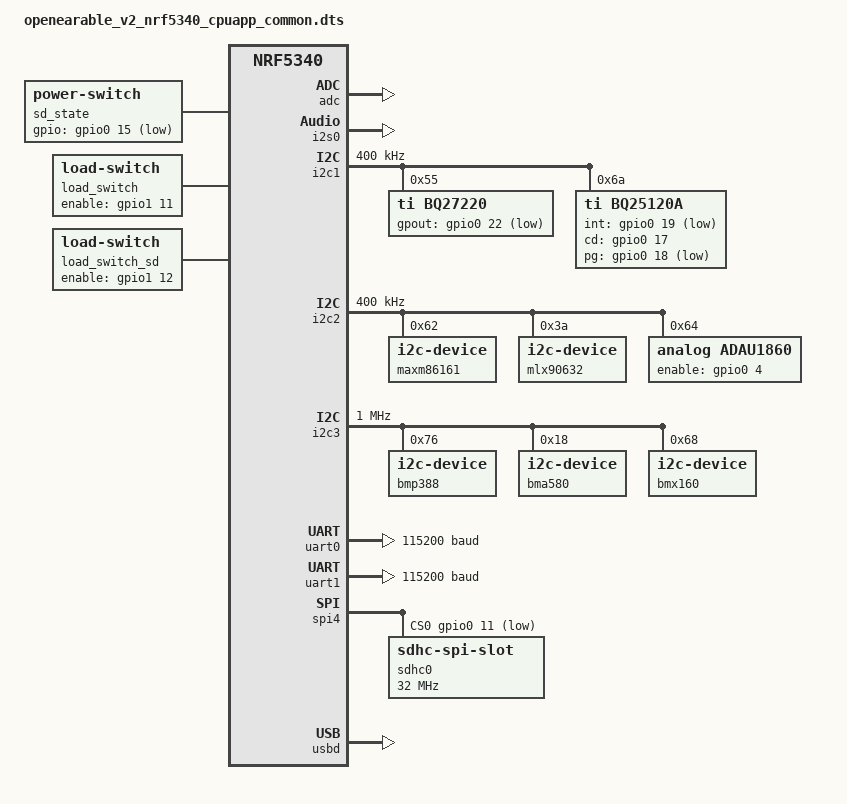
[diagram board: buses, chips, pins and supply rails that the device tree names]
/*
 * Copyright (c) 2023 Raytac Corporation
 *
 * SPDX-License-Identifier: Apache-2.0
 */
/*
 * Haven copy of the OpenEarable 2.0 board definition (OpenEarable/open-earable-2,
 * boards/teco/openearable_v2). Haven's board is a port of this exact PCB, so
 * the pin map is the same. Local changes are marked "Haven:" -- the codec node
 * moved to &i2c2 (see comment there), I2S MCK dropped from the pinctrl (the
 * codec has no MCLK input; upstream's MCK pin P1.14 doubles as its
 * alternative PDM clock pin), and the UART GPIO forwarder removed (no
 * net-core UART here).
 */
 #include "openearable_v2_nrf5340_cpuapp_common-pinctrl.dtsi"
 #include <zephyr/dt-bindings/input/input-event-codes.h>
 
 / {
	 chosen {
		 zephyr,console = &uart0;
		 zephyr,shell-uart = &uart0;
		 zephyr,uart-mcumgr = &cdc_acm_uart0;
		 zephyr,bt-mon-uart = &uart0;
		 zephyr,bt-c2h-uart = &uart0;
		 zephyr,bt-hci = &bt_hci_ipc0;
		 watchdog0 = &wdt0;
	 };
 
 
	 sd_state: sd_state {
		 compatible = "power-switch";
		 gpios = <&gpio0 15 (GPIO_PULL_UP | GPIO_ACTIVE_LOW)>;
	 };
 
	 load_switch: load_switch {
		 compatible = "load-switch";
		 enable-gpios = <&gpio1 11 GPIO_ACTIVE_HIGH>;
		 power-delay-us = <300>; // 250us per datasheet
		 status = "okay";
		 default-on;
	 };
 
	 load_switch_sd: load_switch_sd {
		 compatible = "load-switch";
		 enable-gpios = <&gpio1 12 GPIO_ACTIVE_HIGH>;
		 power-delay-us = <300>; // 250us per datasheet
		 status = "okay";
	 };
 
 };
 
 &clock {
	 hfclkaudio-frequency = <12288000>;
 };

 // Oscillator Parameters 32mHz / 8pF / 20ppm
 &hfxo {
	load-capacitors = "internal";
	load-capacitance-femtofarad = <8000>;
 };

 &lfxo {
	load-capacitors = "external";
  };
 
 &adc {
	 status = "okay";
 };
 
 &gpiote {
	 status = "okay";
 };
 
 &gpio0 {
	 status = "okay";
 };
 
 &gpio1 {
	 status = "okay";
 };
 
 &i2s0 {
	 compatible = "nordic,nrf-i2s";
	 status = "okay";
	 pinctrl-0 = <&i2s0_default>;
	 pinctrl-1 = <&i2s0_sleep>;
	 pinctrl-names = "default", "sleep";
 };
 
 dmic_dev: &pdm0 {
	 compatible = "nordic,nrf-pdm";
	 status = "disabled";
	 pinctrl-0 = <&pdm0_default_alt>;
	 pinctrl-names = "default";
	 clock-source = "ACLK";
 };
 
 &i2c1 {
	 compatible = "nordic,nrf-twim";
	 status = "okay";
	 pinctrl-0 = <&i2c1_default>;
	 pinctrl-1 = <&i2c1_sleep>;
	 pinctrl-names = "default", "sleep";
	 clock-frequency = <I2C_BITRATE_FAST>;  // 400 kHz
	 zephyr,concat-buf-size = <512>;
     zephyr,flash-buf-max-size = <512>;
 
	 bq27220: bq27220@55 {
		 compatible = "ti,bq27220";
		 reg = <0x55>;
		 gpout-gpios = <&gpio0 22 (GPIO_PULL_UP | GPIO_ACTIVE_LOW)>;
	 };
 
	 bq25120a: bq25120a@6a {
		 compatible = "ti,bq25120a";
		 reg = <0x6a>;
		 int-gpios = <&gpio0 19 (GPIO_ACTIVE_LOW | GPIO_PULL_UP)>;
		 cd-gpios = <&gpio0 17 GPIO_ACTIVE_HIGH>;
		 pg-gpios = <&gpio0 18 (GPIO_ACTIVE_LOW | GPIO_PULL_UP)>;

		load-switch {
			compatible = "load-switch";
			enable-gpios = <&gpio0 14 GPIO_ACTIVE_HIGH>;
			power-delay-us = <600>; // 250us per datasheet
			status = "okay";
        };
	 };
 
 };
 
 &i2c2 {
	 compatible = "nordic,nrf-twim";
	 status = "okay";
	 pinctrl-0 = <&i2c2_default>;
	 pinctrl-1 = <&i2c2_sleep>;
	 pinctrl-names = "default", "sleep";
	 clock-frequency = <I2C_BITRATE_FAST>;  // 400 kHz
	 zephyr,concat-buf-size = <512>;
     zephyr,flash-buf-max-size = <512>;

	maxm86161: maxm86161@62 {
        compatible = "i2c-device";
        reg = <0x62>;
    };

	mlx90632: mlx90632@3A {
        compatible = "i2c-device";
        reg = <0x3A>;
    };

	/* ADAU1860 codec/DSP. Upstream OpenEarable declares this node under
	 * &i2c1 but talks to it through its `I2C2` TWIM wrapper (src/Wire/TWIM.cpp:
	 * `TWIM I2C2(DEVICE_DT_GET(DT_NODELABEL(i2c2)))`, `ADAU1860 dac(&I2C2)`),
	 * i.e. the bus on P1.00 (SCL) / P1.15 (SDA) -- which is also where the
	 * Haven board netlist puts the codec's SCL1/SDA1 pins (MDBT53 pins 45/47).
	 * Haven's driver uses the node's parent bus for real, so the node lives
	 * on the bus the wires go to.
	 */
	adau1860: adau1860@64 {
		compatible = "analog,adau1860";
		reg = <0x64>;
		enable-gpios = <&gpio0 4 GPIO_ACTIVE_HIGH>;  /* net DAC_ENABLE -> codec pin E4 */
	};
 };
 
 &i2c3 {
	 compatible = "nordic,nrf-twim";
	 status = "okay";
	 pinctrl-0 = <&i2c3_default>;
	 pinctrl-1 = <&i2c3_sleep>;
	 pinctrl-names = "default", "sleep";
	 clock-frequency = <I2C_BITRATE_FAST_PLUS>;  // 1000 kHz
	 zephyr,concat-buf-size = <512>;
     zephyr,flash-buf-max-size = <512>;

	bmp388: bmp388@76 {
        compatible = "i2c-device";
        reg = <0x76>;
    };

	bma580: bma580@18 {
        compatible = "i2c-device";
        reg = <0x18>;
    };

	bmx160: bmx160@68 {
        compatible = "i2c-device";
        reg = <0x68>;
    };
 };
 
 &uart0 {
	 status = "okay";
	 current-speed = <115200>;
	 pinctrl-0 = <&uart0_default>;
	 pinctrl-1 = <&uart0_sleep>;
	 pinctrl-names = "default", "sleep";
 };
 
 &uart1 {
	 compatible = "nordic,nrf-uarte";
	 current-speed = <115200>;
	 pinctrl-0 = <&uart1_default>;
	 pinctrl-1 = <&uart1_sleep>;
	 pinctrl-names = "default", "sleep";
 };
 
 &pwm0 {
	 status = "disabled"; // okay
	 pinctrl-0 = <&pwm0_default>;
	 pinctrl-1 = <&pwm0_sleep>;
	 pinctrl-names = "default", "sleep";
 };
 
 &qspi {
	 status = "disabled";
	 pinctrl-0 = <&qspi_default>;
	 pinctrl-1 = <&qspi_sleep>;
	 pinctrl-names = "default", "sleep";
 };
 
 &spi2 {
	 compatible = "nordic,nrf-spim";
	 status = "disabled";
	 cs-gpios = <&gpio0 25 GPIO_ACTIVE_LOW>;
 
	 pinctrl-0 = <&spi2_default>;
	 pinctrl-1 = <&spi2_sleep>;
	 pinctrl-names = "default", "sleep";
 };
 
 &spi3 {
	 compatible = "nordic,nrf-spim";
	 status = "disabled";
	 cs-gpios = <&gpio1 12 GPIO_ACTIVE_LOW>;
 
	 pinctrl-0 = <&spi3_default>;
	 pinctrl-1 = <&spi3_sleep>;
	 pinctrl-names = "default", "sleep";
 };
 
 &spi4 {
	 compatible = "nordic,nrf-spim";
	 status = "okay";
	 cs-gpios = <&gpio0 11 GPIO_ACTIVE_LOW>,<&gpio1 1 GPIO_ACTIVE_LOW>;
 
	 pinctrl-0 = <&spi4_default>;
	 pinctrl-1 = <&spi4_sleep>;
	 pinctrl-names = "default", "sleep";
	 sdhc0: sdhc@0 {
		 compatible = "zephyr,sdhc-spi-slot";
		 reg = <0>;
		 status = "okay";
		 sdmmc {
			 compatible = "zephyr,sdmmc-disk";
			 status = "okay";
			 disk-name = "SD";
		 };
 
		 spi-max-frequency = <32000000>;
	 };
 };
 
 zephyr_udc0: &usbd {
	 compatible = "nordic,nrf-usbd";
	 status = "okay";
	 cdc_acm_uart0: cdc_acm_uart0 {
		 compatible = "zephyr,cdc-acm-uart";
	 };
 };
 
 &uicr {
	 nfct-pins-as-gpios;
 };
 
 /* Include partition configuration file */
 //#include "openearable_v2_nrf5340_cpuapp_partition_conf.dts"
 /* NCS v3.4: the nRF5340 partition layouts moved from <common/nordic/...>
  * to <nordic/...> (see zephyr boards/nordic/nrf5340dk). */
 #include <nordic/nrf5340_cpuapp_partition.dtsi>
 #include "openearable_v2_nrf5340_shared.dtsi"
 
